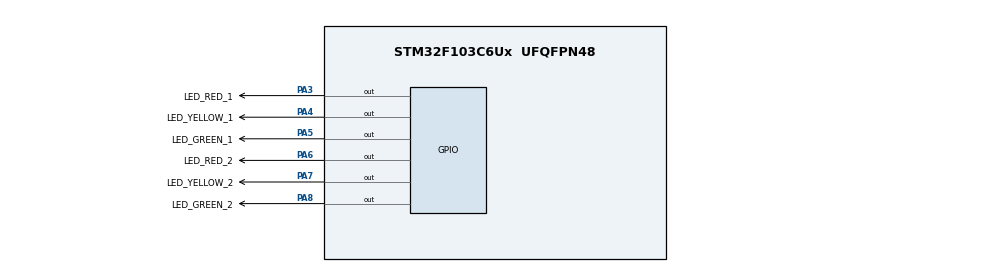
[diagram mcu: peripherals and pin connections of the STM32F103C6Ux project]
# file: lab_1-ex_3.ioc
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Mcu.Family=STM32F1
Mcu.Name=STM32F103C6Ux
Mcu.Package=UFQFPN48
NVIC.PriorityGroup=NVIC_PRIORITYGROUP_4
PA3.GPIO_Label=LED_RED_1
PA3.Signal=GPIO_Output
PA4.GPIO_Label=LED_YELLOW_1
PA4.Signal=GPIO_Output
PA5.GPIO_Label=LED_GREEN_1
PA5.Signal=GPIO_Output
PA6.GPIO_Label=LED_RED_2
PA6.Signal=GPIO_Output
PA7.GPIO_Label=LED_YELLOW_2
PA7.Signal=GPIO_Output
PA8.GPIO_Label=LED_GREEN_2
PA8.Signal=GPIO_Output
ProjectManager.HeapSize=0x200
ProjectManager.StackSize=0x400
ProjectManager.TargetToolchain=STM32CubeIDE
RCC.APB1Freq_Value=8000000
RCC.APB2Freq_Value=8000000
VP_SYS_VS_ND.Mode=No_Debug
board=custom

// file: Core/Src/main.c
/* USER CODE BEGIN Header */
/**
  ******************************************************************************
  * @file           : main.c
  * @brief          : Main program body
  ******************************************************************************
  * @attention
  *
  * <h2><center>&copy; Copyright (c) 2022 STMicroelectronics.
  * All rights reserved.</center></h2>
  *
  * This software component is licensed by ST under BSD 3-Clause license,
  * the "License"; You may not use this file except in compliance with the
  * License. You may obtain a copy of the License at:
  *                        opensource.org/licenses/BSD-3-Clause
  *
  ******************************************************************************
  */
/* USER CODE END Header */
#include "main.h"

void SystemClock_Config(void);
static void MX_GPIO_Init(void);

int main(void)
{

  /* MCU Configuration--------------------------------------------------------*/

  /* Reset of all peripherals, Initializes the Flash interface and the Systick. */
  HAL_Init();

  /* USER CODE BEGIN Init */
  int point = 0;
  int count_red_1 = 5;
  int count_yellow_1 = 2;
  int count_green_1 = 3;
  int count_red_2 = 5;
  int count_yellow_2 = 2;
  int count_green_2 = 3;
  /* USER CODE END Init */

  /* Configure the system clock */
  SystemClock_Config();

  /* Initialize all configured peripherals */
  MX_GPIO_Init();

  /* Infinite loop */
  /* USER CODE BEGIN WHILE */
  while (1)
  {
	  if(point == 0){
		  HAL_GPIO_WritePin(LED_RED_1_GPIO_Port, LED_RED_1_Pin, GPIO_PIN_RESET);
		  HAL_GPIO_WritePin(LED_YELLOW_1_GPIO_Port, LED_YELLOW_1_Pin, GPIO_PIN_SET);
		  HAL_GPIO_WritePin(LED_GREEN_1_GPIO_Port, LED_GREEN_1_Pin, GPIO_PIN_SET);
		  HAL_GPIO_WritePin(LED_RED_2_GPIO_Port, LED_RED_2_Pin, GPIO_PIN_SET);
		  if(count_green_2 > 0){
			  HAL_GPIO_WritePin(LED_GREEN_2_GPIO_Port, LED_GREEN_2_Pin, GPIO_PIN_RESET);
			  HAL_GPIO_WritePin(LED_YELLOW_2_GPIO_Port, LED_YELLOW_2_Pin, GPIO_PIN_SET);
			  count_green_2--;
		  } else if (count_yellow_2 > 0){
			  HAL_GPIO_WritePin(LED_GREEN_2_GPIO_Port, LED_GREEN_2_Pin, GPIO_PIN_SET);
			  HAL_GPIO_WritePin(LED_YELLOW_2_GPIO_Port, LED_YELLOW_2_Pin, GPIO_PIN_RESET);
			  count_yellow_2--;
		  } else {
			  count_green_2 = 3;
			  count_yellow_2 = 2;
		  }
		  if(count_red_1 > 0){
			  count_red_1--;
		  } else {
			  count_red_1 = 5;
			  point = 1;
		  }

	  } else {
		  HAL_GPIO_WritePin(LED_RED_1_GPIO_Port, LED_RED_1_Pin, GPIO_PIN_SET);
		  HAL_GPIO_WritePin(LED_RED_2_GPIO_Port, LED_RED_2_Pin,  GPIO_PIN_RESET);
		  HAL_GPIO_WritePin(LED_YELLOW_2_GPIO_Port, LED_YELLOW_2_Pin,  GPIO_PIN_SET);
		  HAL_GPIO_WritePin(LED_GREEN_2_GPIO_Port, LED_GREEN_2_Pin,  GPIO_PIN_SET);
		  if(count_green_1 > 0){
			  HAL_GPIO_WritePin(LED_YELLOW_1_GPIO_Port, LED_YELLOW_1_Pin, GPIO_PIN_SET);
			  HAL_GPIO_WritePin(LED_GREEN_1_GPIO_Port, LED_GREEN_1_Pin, GPIO_PIN_RESET);
			  count_green_1--;
		  } else if(count_yellow_1 > 0){
			  HAL_GPIO_WritePin(LED_YELLOW_1_GPIO_Port, LED_YELLOW_1_Pin, GPIO_PIN_RESET);
			  HAL_GPIO_WritePin(LED_GREEN_1_GPIO_Port, LED_GREEN_1_Pin, GPIO_PIN_SET);
			  count_yellow_1--;
		  } else {
			  count_green_1 = 3;
			  count_yellow_1 = 2;
		  }
		  if(count_red_2 > 0){
			  count_red_2--;
		  } else {
			  count_red_2 = 5;
			  point = 0;
		  }
	  }

	  HAL_Delay(1000);
    /* USER CODE END WHILE */

  }
}

void SystemClock_Config(void)
{
  RCC_OscInitTypeDef RCC_OscInitStruct = {0};
  RCC_ClkInitTypeDef RCC_ClkInitStruct = {0};

  /** Initializes the RCC Oscillators according to the specified parameters
  * in the RCC_OscInitTypeDef structure.
  */
  RCC_OscInitStruct.OscillatorType = RCC_OSCILLATORTYPE_HSI;
  RCC_OscInitStruct.HSIState = RCC_HSI_ON;
  RCC_OscInitStruct.HSICalibrationValue = RCC_HSICALIBRATION_DEFAULT;
  RCC_OscInitStruct.PLL.PLLState = RCC_PLL_NONE;
  if (HAL_RCC_OscConfig(&RCC_OscInitStruct) != HAL_OK)
  {
    Error_Handler();
  }
  /** Initializes the CPU, AHB and APB buses clocks
  */
  RCC_ClkInitStruct.ClockType = RCC_CLOCKTYPE_HCLK|RCC_CLOCKTYPE_SYSCLK
                              |RCC_CLOCKTYPE_PCLK1|RCC_CLOCKTYPE_PCLK2;
  RCC_ClkInitStruct.SYSCLKSource = RCC_SYSCLKSOURCE_HSI;
  RCC_ClkInitStruct.AHBCLKDivider = RCC_SYSCLK_DIV1;
  RCC_ClkInitStruct.APB1CLKDivider = RCC_HCLK_DIV1;
  RCC_ClkInitStruct.APB2CLKDivider = RCC_HCLK_DIV1;

  if (HAL_RCC_ClockConfig(&RCC_ClkInitStruct, FLASH_LATENCY_0) != HAL_OK)
  {
    Error_Handler();
  }
}

static void MX_GPIO_Init(void)
{
  GPIO_InitTypeDef GPIO_InitStruct = {0};

  /* GPIO Ports Clock Enable */
  __HAL_RCC_GPIOA_CLK_ENABLE();

  /*Configure GPIO pin Output Level */
  HAL_GPIO_WritePin(GPIOA, LED_RED_1_Pin|LED_YELLOW_1_Pin|LED_GREEN_1_Pin|LED_RED_2_Pin
                          |LED_YELLOW_2_Pin|LED_GREEN_2_Pin, GPIO_PIN_RESET);

  /*Configure GPIO pins : LED_RED_1_Pin LED_YELLOW_1_Pin LED_GREEN_1_Pin LED_RED_2_Pin
                           LED_YELLOW_2_Pin LED_GREEN_2_Pin */
  GPIO_InitStruct.Pin = LED_RED_1_Pin|LED_YELLOW_1_Pin|LED_GREEN_1_Pin|LED_RED_2_Pin
                          |LED_YELLOW_2_Pin|LED_GREEN_2_Pin;
  GPIO_InitStruct.Mode = GPIO_MODE_OUTPUT_PP;
  GPIO_InitStruct.Pull = GPIO_NOPULL;
  GPIO_InitStruct.Speed = GPIO_SPEED_FREQ_LOW;
  HAL_GPIO_Init(GPIOA, &GPIO_InitStruct);

}

void Error_Handler(void)
{
  __disable_irq();
  while (1)
  {
  }
}

/************************ (C) COPYRIGHT STMicroelectronics *****END OF FILE****/
